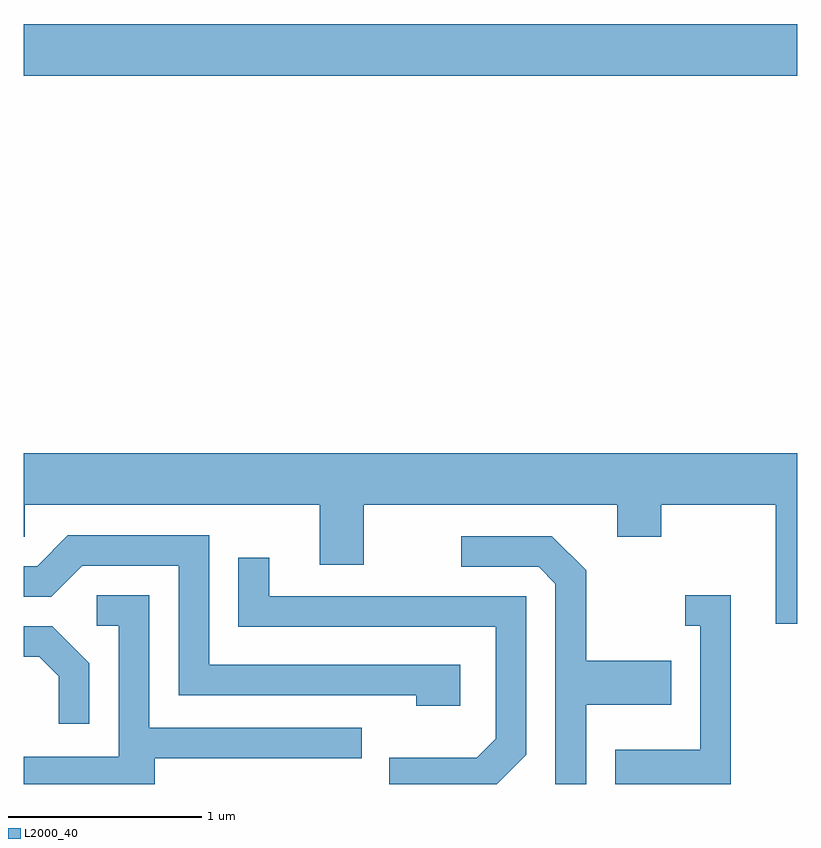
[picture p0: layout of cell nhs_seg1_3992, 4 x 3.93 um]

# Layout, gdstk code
import gdstk
lib = gdstk.Library(unit=1e-6, precision=1e-09)
def R(c, l, rs):  # rectangles x0, y0, x1, y1
    for r in rs: c.add(gdstk.rectangle(r[:2], r[2:], *l))
def P(c, l, *ps):  # polygons
    for p in ps: c.add(gdstk.Polygon(p, *l))
L2000_40 = (2000, 40)

nhs_seg1_3992 = lib.new_cell('nhs_seg1_3992')
R(nhs_seg1_3992, L2000_40, [(305.611,877.376,309.611,877.644)])
P(nhs_seg1_3992, L2000_40, [(309.611,875.424),(305.611,875.424),(305.611,874.991),(305.614,874.991),(305.614,875.156),(307.141,875.156),(307.141,874.846),(307.369,874.846),(307.369,875.156),(308.681,875.156),(308.681,874.991),(308.909,874.991),(308.909,875.156),(309.501,875.156),(309.501,874.541),(309.611,874.541)],
  [(307.869,874.329),(306.569,874.329),(306.569,874.999),(305.839,874.999),(305.679,874.839),(305.611,874.839),(305.611,874.681),(305.752,874.681),(305.912,874.841),(306.411,874.841),(306.411,874.171),(307.641,874.171),(307.641,874.116),(307.869,874.116)],
  [(308.519,874.121),(308.959,874.121),(308.959,874.349),(308.519,874.349),(308.519,874.817),(308.342,874.994),(307.873,874.994),(307.873,874.836),(308.274,874.836),(308.361,874.749),(308.361,873.712),(308.519,873.712)],
  [(308.209,873.864),(308.209,874.684),(306.879,874.684),(306.879,874.883),(306.721,874.883),(306.721,874.526),(308.051,874.526),(308.051,873.947),(307.954,873.849),(307.501,873.849),(307.501,873.712),(308.058,873.712)],
  [(309.269,874.689),(309.033,874.689),(309.033,874.531),(309.111,874.531),(309.111,873.889),(308.671,873.889),(308.671,873.712),(309.269,873.712)],
  [(306.289,873.846),(307.358,873.846),(307.358,874.004),(306.259,874.004),(306.259,874.689),(305.988,874.689),(305.988,874.531),(306.101,874.531),(306.101,873.854),(305.611,873.854),(305.611,873.712),(306.289,873.712)],
  [(305.949,874.337),(305.757,874.529),(305.611,874.529),(305.611,874.371),(305.689,874.371),(305.791,874.269),(305.791,874.023),(305.949,874.023)])

lib.write_gds('nhs_seg1_3992.gds')
